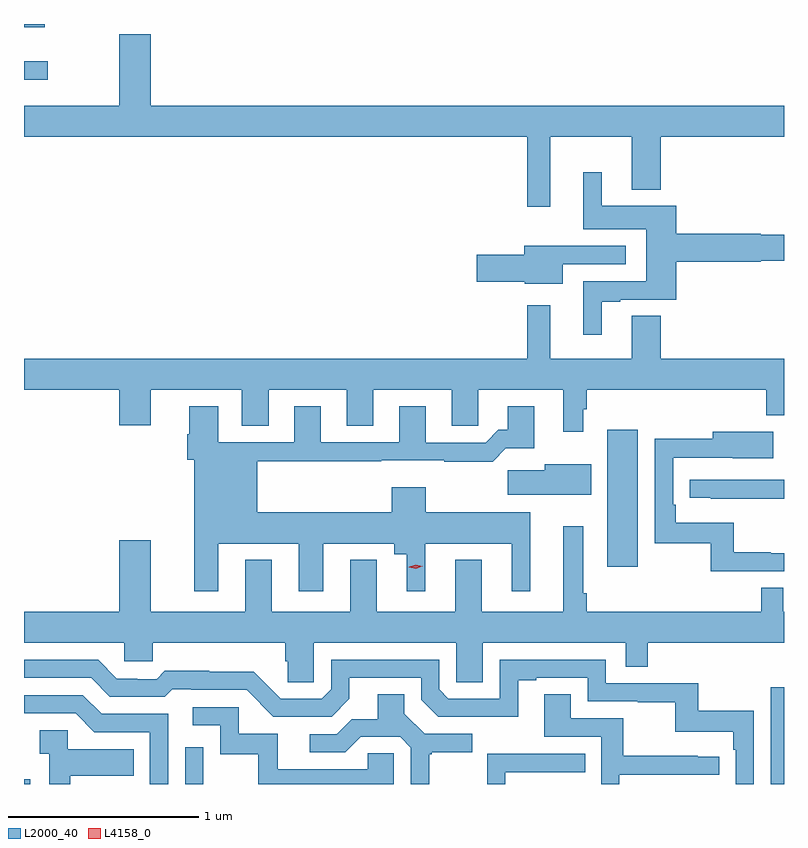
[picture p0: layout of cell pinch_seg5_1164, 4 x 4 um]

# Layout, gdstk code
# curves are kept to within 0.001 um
import gdstk
lib = gdstk.Library(unit=1e-6, precision=1e-09)
def R(c, l, rs):  # rectangles x0, y0, x1, y1
    for r in rs: c.add(gdstk.rectangle(r[:2], r[2:], *l))
def P(c, l, *ps):  # polygons
    for p in ps: c.add(gdstk.Polygon(p, *l))
L2000_40 = (2000, 40)
L4158_0 = (4158, 0)

pinch_seg5_1164 = lib.new_cell('pinch_seg5_1164')
R(pinch_seg5_1164, L2000_40, [(859.81,836.037,859.843,836.061), (860.658,836.037,860.754,836.23), (863.741,836.037,863.81,836.545), (862.88,837.18,863.041,837.901), (859.81,839.744,859.936,839.841), (859.81,840.02,859.918,840.037)])
P(pinch_seg5_1164, L2000_40, [(862.579,839.444),(863.009,839.444),(863.009,839.165),(863.162,839.165),(863.162,839.444),(863.81,839.444),(863.81,839.608),(860.476,839.608),(860.476,839.983),(860.312,839.983),(860.312,839.608),(859.81,839.608),(859.81,839.444),(862.458,839.444),(862.458,839.076),(862.579,839.076)],
  [(862.852,838.575),(862.948,838.575),(862.948,838.587),(863.243,838.587),(863.243,838.787),(863.688,838.787),(863.688,838.792),(863.81,838.792),(863.81,838.928),(863.688,838.928),(863.688,838.934),(863.243,838.934),(863.243,839.08),(862.852,839.08),(862.852,839.257),(862.754,839.257),(862.754,838.958),(863.084,838.958),(863.084,838.683),(862.754,838.683),(862.754,838.401),(862.852,838.401)],
  [(862.645,838.773),(862.978,838.773),(862.978,838.869),(862.658,838.869),(862.658,838.871),(862.442,838.871),(862.442,838.823),(862.194,838.823),(862.194,838.681),(862.446,838.681),(862.446,838.67),(862.645,838.67)],
  [(862.753,838.01),(862.771,838.01),(862.771,838.112),(863.717,838.112),(863.717,837.977),(863.81,837.977),(863.81,838.276),(863.162,838.276),(863.162,838.502),(863.009,838.502),(863.009,838.276),(862.579,838.276),(862.579,838.558),(862.458,838.558),(862.458,838.276),(859.81,838.276),(859.81,838.112),(860.312,838.112),(860.312,837.924),(860.476,837.924),(860.476,838.112),(860.957,838.112),(860.957,837.922),(861.097,837.922),(861.097,838.112),(861.509,838.112),(861.509,837.922),(861.649,837.922),(861.649,838.112),(862.061,838.112),(862.061,837.922),(862.2,837.922),(862.2,838.112),(862.649,838.112),(862.649,837.891),(862.753,837.891)],
  [(860.833,837.302),(861.257,837.302),(861.257,837.051),(861.385,837.051),(861.385,837.302),(861.758,837.302),(861.758,837.245),(861.824,837.245),(861.824,837.051),(861.922,837.051),(861.922,837.302),(862.376,837.302),(862.376,837.051),(862.474,837.051),(862.474,837.466),(861.924,837.466),(861.924,837.598),(861.746,837.598),(861.746,837.466),(861.037,837.466),(861.037,837.736),(861.689,837.736),(861.689,837.74),(862.021,837.74),(862.021,837.734),(862.277,837.734),(862.346,837.803),(862.495,837.803),(862.495,838.024),(862.355,838.024),(862.355,837.901),(862.306,837.901),(862.239,837.834),(861.925,837.834),(861.925,838.024),(861.785,838.024),(861.785,837.837),(861.373,837.837),(861.373,838.024),(861.233,838.024),(861.233,837.837),(860.833,837.837),(860.833,838.024),(860.681,838.024),(860.681,837.878),(860.669,837.878),(860.669,837.744),(860.705,837.744),(860.705,837.051),(860.833,837.051)],
  [(863.81,837.252),(863.741,837.252),(863.741,837.257),(863.545,837.257),(863.545,837.412),(863.24,837.412),(863.24,837.508),(863.226,837.508),(863.226,837.753),(863.539,837.753),(863.539,837.752),(863.753,837.752),(863.753,837.892),(863.435,837.892),(863.435,837.854),(863.13,837.854),(863.13,837.303),(863.424,837.303),(863.424,837.156),(863.81,837.156)],
  [(862.795,837.721),(862.55,837.721),(862.55,837.689),(862.356,837.689),(862.356,837.56),(862.795,837.56)],
  [(863.81,837.639),(863.313,837.639),(863.313,837.543),(863.425,837.543),(863.425,837.538),(863.81,837.538)],
  [(861.336,836.78),(862.086,836.78),(862.086,836.572),(862.225,836.572),(862.225,836.78),(862.977,836.78),(862.977,836.653),(863.093,836.653),(863.093,836.78),(863.81,836.78),(863.81,836.944),(863.805,836.944),(863.805,837.071),(863.689,837.071),(863.689,836.944),(862.771,836.944),(862.771,837.04),(862.753,837.04),(862.753,837.394),(862.649,837.394),(862.649,836.944),(862.219,836.944),(862.219,837.217),(862.079,837.217),(862.079,836.944),(861.667,836.944),(861.667,837.217),(861.527,837.217),(861.527,836.944),(861.115,836.944),(861.115,837.217),(860.975,837.217),(860.975,836.944),(860.476,836.944),(860.476,837.319),(860.312,837.319),(860.312,836.944),(859.81,836.944),(859.81,836.78),(860.337,836.78),(860.337,836.682),(860.487,836.682),(860.487,836.78),(861.185,836.78),(861.185,836.682),(861.199,836.682),(861.199,836.572),(861.336,836.572)],
  [(863.652,836.422),(863.359,836.422),(863.359,836.568),(862.872,836.568),(862.872,836.691),(862.314,836.691),(862.314,836.487),(862.044,836.487),(861.996,836.535),(861.996,836.691),(861.426,836.691),(861.426,836.535),(861.378,836.487),(861.162,836.487),(861.02,836.629),(860.784,836.629),(860.784,836.632),(860.551,836.632),(860.509,836.589),(860.406,836.589),(860.406,836.592),(860.299,836.592),(860.2,836.691),(859.81,836.691),(859.81,836.595),(860.163,836.595),(860.262,836.496),(860.551,836.496),(860.59,836.535),(860.689,836.535),(860.689,836.532),(860.982,836.532),(861.123,836.391),(861.429,836.391),(861.523,836.485),(861.523,836.595),(861.9,836.595),(861.9,836.481),(861.99,836.391),(862.411,836.39),(862.411,836.583),(862.507,836.583),(862.507,836.595),(862.776,836.595),(862.776,836.472),(863.041,836.472),(863.041,836.467),(863.238,836.467),(863.238,836.312),(863.543,836.312),(863.543,836.216),(863.556,836.216),(863.556,836.037),(863.652,836.037)],
  [(861.943,836.193),(861.955,836.193),(861.955,836.204),(862.168,836.204),(862.168,836.301),(861.918,836.301),(861.811,836.408),(861.811,836.51),(861.671,836.51),(861.671,836.378),(861.536,836.378),(861.456,836.298),(861.315,836.298),(861.315,836.205),(861.502,836.205),(861.583,836.286),(861.789,836.286),(861.846,836.229),(861.846,836.037),(861.943,836.037)],
  [(862.944,836.085),(863.47,836.085),(863.47,836.181),(863.357,836.181),(863.357,836.186),(862.964,836.186),(862.964,836.382),(862.687,836.382),(862.687,836.51),(862.547,836.51),(862.547,836.286),(862.848,836.286),(862.848,836.037),(862.944,836.037)],
  [(860.568,836.406),(860.218,836.406),(860.119,836.505),(859.81,836.505),(859.81,836.409),(860.082,836.409),(860.181,836.31),(860.472,836.31),(860.472,836.037),(860.568,836.037)],
  [(861.756,836.199),(861.619,836.199),(861.619,836.115),(861.145,836.115),(861.145,836.301),(860.94,836.301),(860.94,836.442),(860.697,836.442),(860.697,836.346),(860.844,836.346),(860.844,836.193),(861.043,836.193),(861.043,836.037),(861.756,836.037)],
  [(860.053,836.081),(860.387,836.081),(860.387,836.221),(860.04,836.221),(860.04,836.319),(859.893,836.319),(859.893,836.195),(859.944,836.195),(859.944,836.037),(860.053,836.037)],
  [(862.344,836.1),(862.763,836.1),(862.763,836.196),(862.248,836.196),(862.248,836.037),(862.344,836.037)])
P(pinch_seg5_1164, L4158_0, [(861.873,837.171),(861.837,837.179),(861.836,837.179),(861.837,837.18),(861.871,837.191),(861.907,837.184),(861.908,837.183),(861.907,837.183)])

lib.write_gds('pinch_seg5_1164.gds')
